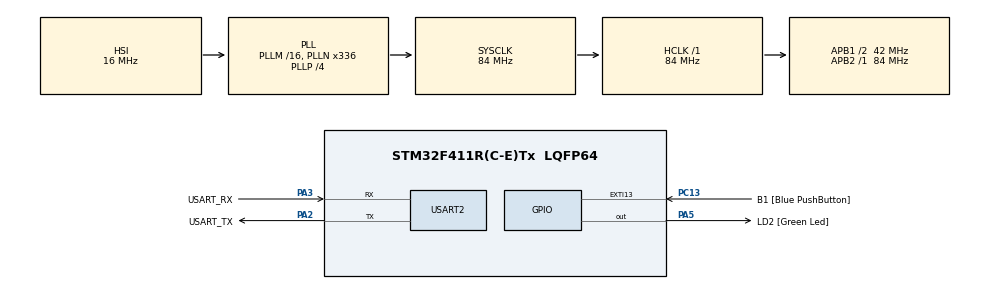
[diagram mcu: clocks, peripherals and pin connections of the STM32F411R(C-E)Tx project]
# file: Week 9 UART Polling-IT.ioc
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Mcu.Family=STM32F4
Mcu.Name=STM32F411R(C-E)Tx
Mcu.Package=LQFP64
NVIC.PriorityGroup=NVIC_PRIORITYGROUP_0
NVIC.USART2_IRQn=true\:0\:0\:false\:false\:true\:true\:true\:true
PA13.GPIO_Label=TMS
PA13.Mode=Serial_Wire
PA13.Signal=SYS_JTMS-SWDIO
PA14.GPIO_Label=TCK
PA14.Mode=Serial_Wire
PA14.Signal=SYS_JTCK-SWCLK
PA2.GPIO_Label=USART_TX
PA2.Mode=Asynchronous
PA2.Signal=USART2_TX
PA3.GPIO_Label=USART_RX
PA3.Mode=Asynchronous
PA3.Signal=USART2_RX
PA5.GPIO_Label=LD2 [Green Led]
PA5.Signal=GPIO_Output
PB3.GPIO_Label=SWO
PB3.Signal=SYS_JTDO-SWO
PC13-ANTI_TAMP.GPIO_Label=B1 [Blue PushButton]
PC13-ANTI_TAMP.GPIO_ModeDefaultEXTI=GPIO_MODE_IT_FALLING
PC13-ANTI_TAMP.Signal=GPXTI13
PC14-OSC32_IN.Mode=LSE-External-Oscillator
PC14-OSC32_IN.Signal=RCC_OSC32_IN
PC15-OSC32_OUT.Mode=LSE-External-Oscillator
PC15-OSC32_OUT.Signal=RCC_OSC32_OUT
PH0\ -\ OSC_IN.Mode=HSE-External-Clock-Source
PH0\ -\ OSC_IN.Signal=RCC_OSC_IN
PH1\ -\ OSC_OUT.Mode=HSE-External-Clock-Source
PH1\ -\ OSC_OUT.Signal=RCC_OSC_OUT
ProjectManager.HeapSize=0x200
ProjectManager.StackSize=0x400
ProjectManager.TargetToolchain=STM32CubeIDE
RCC.48MHZClocksFreq_Value=84000000
RCC.AHBFreq_Value=84000000
RCC.APB1CLKDivider=RCC_HCLK_DIV2
RCC.APB1Freq_Value=42000000
RCC.APB1TimFreq_Value=84000000
RCC.APB2Freq_Value=84000000
RCC.APB2TimFreq_Value=84000000
RCC.CortexFreq_Value=84000000
RCC.FLatency-AdvancedSettings=FLASH_LATENCY_2
RCC.HCLKFreq_Value=84000000
RCC.HSE_VALUE=8000000
RCC.HSI_VALUE=16000000
RCC.PLLN=336
RCC.PLLP=RCC_PLLP_DIV4
RCC.SYSCLKFreq_VALUE=84000000
RCC.SYSCLKSource=RCC_SYSCLKSOURCE_PLLCLK
RCC.VCOOutputFreq_Value=336000000
USART2.VirtualMode=VM_ASYNC
board=NUCLEO-F411RE

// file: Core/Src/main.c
/* USER CODE BEGIN Header */
/**
 ******************************************************************************
 * @file           : main.c
 * @brief          : Main program body
 ******************************************************************************
 * @attention
 *
 * Copyright (c) 2023 STMicroelectronics.
 * All rights reserved.
 *
 * This software is licensed under terms that can be found in the LICENSE file
 * in the root directory of this software component.
 * If no LICENSE file comes with this software, it is provided AS-IS.
 *
 ******************************************************************************
 */
/* USER CODE END Header */
#include "main.h"

/* USER CODE BEGIN Includes */
#include "stdio.h"
#include "string.h"
/* USER CODE END Includes */

UART_HandleTypeDef huart2;

/* USER CODE BEGIN PV */

uint8_t RxBuffer[20];
uint8_t TxBuffer[40];

/* USER CODE END PV */

void SystemClock_Config(void);
static void MX_GPIO_Init(void);
static void MX_USART2_UART_Init(void);
/* USER CODE BEGIN PFP */

void UARTPollingMethod();
void DummyTask();

/* USER CODE END PFP */

int main(void) {

	/* MCU Configuration--------------------------------------------------------*/

	/* Reset of all peripherals, Initializes the Flash interface and the Systick. */
	HAL_Init();

	/* Configure the system clock */
	SystemClock_Config();

	/* Initialize all configured peripherals */
	MX_GPIO_Init();
	MX_USART2_UART_Init();
	/* USER CODE BEGIN 2 */

	// polling transmit
	uint8_t text[] = "HELLO FIBO";
	HAL_UART_Transmit(&huart2, text, 11, 10);

	// interrupt receive
	HAL_UART_Receive_IT(&huart2, RxBuffer, 10);

	/* USER CODE END 2 */

	/* Infinite loop */
	/* USER CODE BEGIN WHILE */
	while (1) {
//		UARTPollingMethod();
		DummyTask();
		/* USER CODE END WHILE */

	}
}

void SystemClock_Config(void) {
	RCC_OscInitTypeDef RCC_OscInitStruct = { 0 };
	RCC_ClkInitTypeDef RCC_ClkInitStruct = { 0 };

	/** Configure the main internal regulator output voltage
	 */
	__HAL_RCC_PWR_CLK_ENABLE();
	__HAL_PWR_VOLTAGESCALING_CONFIG(PWR_REGULATOR_VOLTAGE_SCALE1);

	/** Initializes the RCC Oscillators according to the specified parameters
	 * in the RCC_OscInitTypeDef structure.
	 */
	RCC_OscInitStruct.OscillatorType = RCC_OSCILLATORTYPE_HSI;
	RCC_OscInitStruct.HSIState = RCC_HSI_ON;
	RCC_OscInitStruct.HSICalibrationValue = RCC_HSICALIBRATION_DEFAULT;
	RCC_OscInitStruct.PLL.PLLState = RCC_PLL_ON;
	RCC_OscInitStruct.PLL.PLLSource = RCC_PLLSOURCE_HSI;
	RCC_OscInitStruct.PLL.PLLM = 16;
	RCC_OscInitStruct.PLL.PLLN = 336;
	RCC_OscInitStruct.PLL.PLLP = RCC_PLLP_DIV4;
	RCC_OscInitStruct.PLL.PLLQ = 4;
	if (HAL_RCC_OscConfig(&RCC_OscInitStruct) != HAL_OK) {
		Error_Handler();
	}

	/** Initializes the CPU, AHB and APB buses clocks
	 */
	RCC_ClkInitStruct.ClockType = RCC_CLOCKTYPE_HCLK | RCC_CLOCKTYPE_SYSCLK | RCC_CLOCKTYPE_PCLK1 | RCC_CLOCKTYPE_PCLK2;
	RCC_ClkInitStruct.SYSCLKSource = RCC_SYSCLKSOURCE_PLLCLK;
	RCC_ClkInitStruct.AHBCLKDivider = RCC_SYSCLK_DIV1;
	RCC_ClkInitStruct.APB1CLKDivider = RCC_HCLK_DIV2;
	RCC_ClkInitStruct.APB2CLKDivider = RCC_HCLK_DIV1;

	if (HAL_RCC_ClockConfig(&RCC_ClkInitStruct, FLASH_LATENCY_2) != HAL_OK) {
		Error_Handler();
	}
}

static void MX_USART2_UART_Init(void) {

	huart2.Instance = USART2;
	huart2.Init.BaudRate = 115200;
	huart2.Init.WordLength = UART_WORDLENGTH_8B;
	huart2.Init.StopBits = UART_STOPBITS_1;
	huart2.Init.Parity = UART_PARITY_NONE;
	huart2.Init.Mode = UART_MODE_TX_RX;
	huart2.Init.HwFlowCtl = UART_HWCONTROL_NONE;
	huart2.Init.OverSampling = UART_OVERSAMPLING_16;
	if (HAL_UART_Init(&huart2) != HAL_OK) {
		Error_Handler();
	}

}

static void MX_GPIO_Init(void) {
	GPIO_InitTypeDef GPIO_InitStruct = { 0 };

	/* GPIO Ports Clock Enable */
	__HAL_RCC_GPIOC_CLK_ENABLE();
	__HAL_RCC_GPIOH_CLK_ENABLE();
	__HAL_RCC_GPIOA_CLK_ENABLE();
	__HAL_RCC_GPIOB_CLK_ENABLE();

	/*Configure GPIO pin Output Level */
	HAL_GPIO_WritePin(LD2_GPIO_Port, LD2_Pin, GPIO_PIN_RESET);

	/*Configure GPIO pin : B1_Pin */
	GPIO_InitStruct.Pin = B1_Pin;
	GPIO_InitStruct.Mode = GPIO_MODE_IT_FALLING;
	GPIO_InitStruct.Pull = GPIO_NOPULL;
	HAL_GPIO_Init(B1_GPIO_Port, &GPIO_InitStruct);

	/*Configure GPIO pin : LD2_Pin */
	GPIO_InitStruct.Pin = LD2_Pin;
	GPIO_InitStruct.Mode = GPIO_MODE_OUTPUT_PP;
	GPIO_InitStruct.Pull = GPIO_NOPULL;
	GPIO_InitStruct.Speed = GPIO_SPEED_FREQ_LOW;
	HAL_GPIO_Init(LD2_GPIO_Port, &GPIO_InitStruct);

}

/* USER CODE BEGIN 4 */

void UARTPollingMethod() {
	//read UART 10 char with in 10s
	HAL_StatusTypeDef HAL_status = HAL_UART_Receive(&huart2, RxBuffer, 10, 10000);

	// if complete read 10 char
	if (HAL_status == HAL_OK) {
		// (for string only) Add string stop symbol \0 to end string
		RxBuffer[10] = '\0';

		//return received char
		sprintf((char*) TxBuffer, "Received : %s\r\n", RxBuffer);
		HAL_UART_Transmit(&huart2, TxBuffer, strlen((char*) TxBuffer), 10);
	}
	// Timeout: print only received char
	else if (HAL_status == HAL_TIMEOUT) {
		// (for string only) Add string stop symbol \0 to end string
		uint32_t lastCharPos = huart2.RxXferSize - huart2.RxXferCount;
		RxBuffer[lastCharPos] = '\0';

		//return received char
		sprintf((char*) TxBuffer, "Received Timeout : %s\r\n", RxBuffer);
		HAL_UART_Transmit(&huart2, TxBuffer, strlen((char*) TxBuffer), 10);
	}
}

void DummyTask() {
	static uint32_t timestamp = 0;
	if (HAL_GetTick() >= timestamp) {
		timestamp = HAL_GetTick() + 100;
		HAL_GPIO_TogglePin(LD2_GPIO_Port, LD2_Pin);
	}
}

void HAL_UART_RxCpltCallback(UART_HandleTypeDef *huart) {
	if (huart == &huart2) {
		//end string
		RxBuffer[10] = '\0';

		//return received char
		sprintf((char*) TxBuffer, "Received : %s\r\n", RxBuffer);
		HAL_UART_Transmit_IT(&huart2, TxBuffer, strlen((char*) TxBuffer));

		//recall receive
		HAL_UART_Receive_IT(&huart2, RxBuffer, 10);
	}
}

/* USER CODE END 4 */

void Error_Handler(void) {
	__disable_irq();
	while (1) {
	}
}
